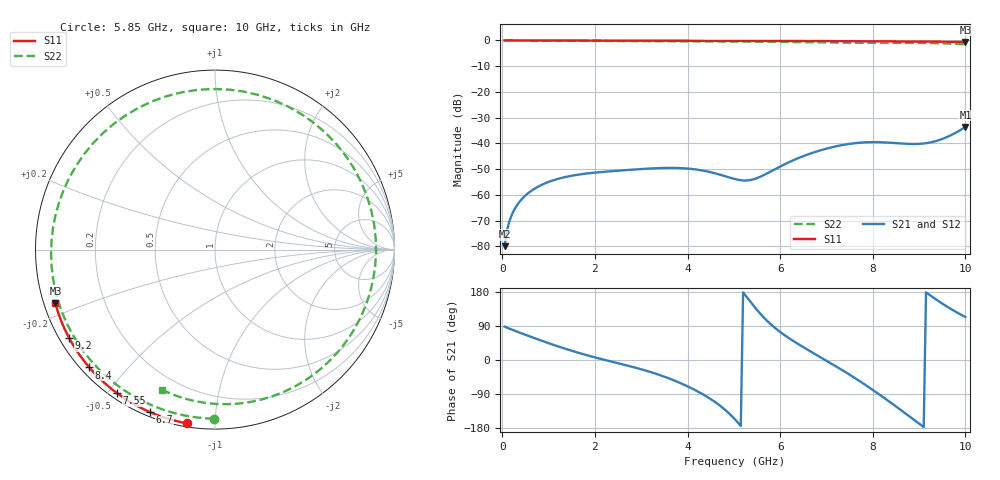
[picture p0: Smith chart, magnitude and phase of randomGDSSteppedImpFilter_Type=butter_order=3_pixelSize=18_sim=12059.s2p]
! freq	dB(S11)	phase(S11)	dB(S12)	phase(S12)
!  dB(S21)	phase(S21)	dB(S22)	phase(S22)
!S-par simulation data
#  GHz  S  DB  R 50
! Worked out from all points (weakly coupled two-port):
!   200 points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, 50 MHz to 10 GHz, reference 50 ohm
!   highest |S21| = -33.59 dB at 10 GHz (marker M1); lowest = -79.9 dB at 50 MHz (marker M2)
!   lowest |S11| = -0.6 dB at 10 GHz (marker M3), VSWR 31.41, Z = 1.63 - j8.18 ohm
!   |S11| at or under -10 dB: nowhere
!   |S22| runs from -1.6 to 0.0 dB; largest |S21 - S12| = 0
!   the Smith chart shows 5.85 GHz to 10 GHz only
!   S11 on the Smith chart (normalised r, x): 5.85 GHz: 0.02, -0.85; 6.7 GHz: 0.02, -0.68; 7.55 GHz: 0.02, -0.53; 8.4 GHz: 0.02, -0.40; 9.2 GHz: 0.03, -0.28; 10 GHz: 0.03, -0.16
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0.05  -0.00 -0.9  -79.93 88.1  -79.93 88.1  -0.00 -3.9
0.2  -0.01 -3.7  -67.96 80.5  -67.96 80.5  -0.02 -15.4
0.5  -0.01 -9.2  -60.23 66.5  -60.23 66.5  -0.05 -38.1
1.15  -0.03 -20.9  -54.05 38.1  -54.05 38.1  -0.11 -86.8
1.75  -0.04 -31.7  -51.86 15.3  -51.86 15.3  -0.16 -130.9
2.55  -0.06 -45.6  -50.54 -10.1  -50.54 -10.1  -0.22 169.3
2.95  -0.07 -52.5  -50.02 -22.7  -50.02 -22.7  -0.25 138.0
3.4  -0.08 -60.1  -49.58 -39.7  -49.58 -39.7  -0.29 101.5
3.8  -0.09 -66.7  -49.56 -58.5  -49.56 -58.5  -0.32 68.2
4.3  -0.11 -74.8  -50.46 -88.4  -50.46 -88.4  -0.35 26.8
5.05  -0.13 -86.7  -53.96 -160.0  -53.96 -160.0  -0.41 -32.2
5.85  -0.17 -99.0  -50.39 88.6  -50.39 88.6  -0.52 -90.4
6.7  -0.22 -111.8  -43.66 19.5  -43.66 19.5  -0.70 -153.8
7.15  -0.25 -118.4  -41.36 -12.6  -41.36 -12.6  -0.83 167.7
7.55  -0.28 -124.3  -40.05 -42.5  -40.05 -42.5  -0.92 128.6
7.95  -0.31 -130.2  -39.51 -74.8  -39.51 -74.8  -0.96 85.3
8.35  -0.35 -136.1  -39.71 -109.1  -39.71 -109.1  -0.95 40.9
8.4  -0.36 -136.9  -39.77 -113.5  -39.77 -113.5  -0.95 35.5
8.8  -0.40 -142.8  -40.21 -149.6  -40.21 -149.6  -0.94 -5.8
9.2  -0.44 -148.8  -39.77 174.1  -39.77 174.1  -1.01 -42.8
9.6  -0.50 -155.0  -37.55 141.1  -37.55 141.1  -1.19 -76.7
10  -0.55 -161.4  -33.59 113.5  -33.59 113.5  -1.56 -110.6
